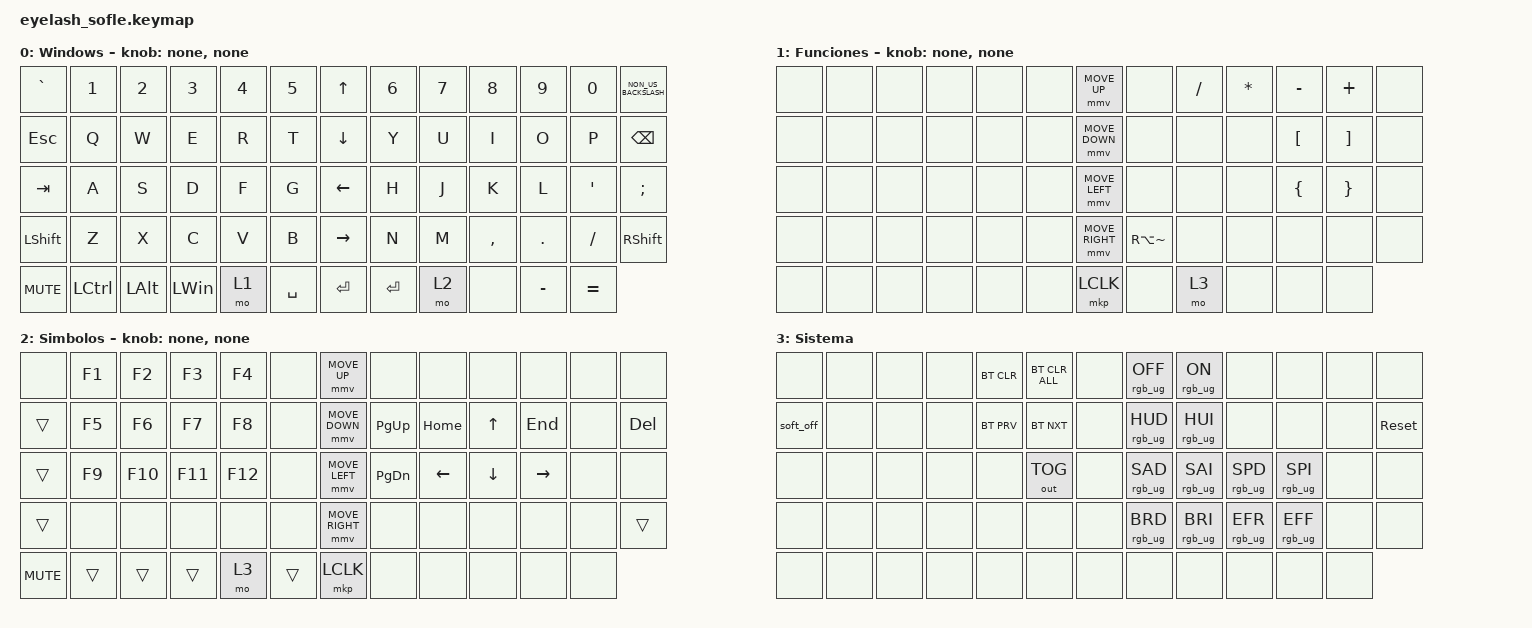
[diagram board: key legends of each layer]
#define ZMK_POINTING_DEFAULT_MOVE_VAL 1200  // 600
#define ZMK_POINTING_DEFAULT_SCRL_VAL 25   // 10

#include <input/processors.dtsi>
#include <zephyr/dt-bindings/input/input-event-codes.h>
#include <behaviors/runtime-sensor-rotate.dtsi>
#include <behaviors.dtsi>
#include <dt-bindings/zmk/bt.h>
#include <dt-bindings/zmk/keys.h>
#include <dt-bindings/zmk/outputs.h>
#include <dt-bindings/zmk/pointing.h>
#include <dt-bindings/zmk/rgb.h>

&mmv_input_listener { input-processors = <&zip_xy_scaler 2 1>; };

&msc_input_listener { input-processors = <&zip_scroll_scaler 2 1>; };

/ {
    combos { compatible = "zmk,combos"; };

    keymap {
        compatible = "zmk,keymap";

        Texto {
            bindings = <
&kp GRAVE   &kp N1     &kp N2        &kp N3        &kp N4  &kp N5       &kp UP_ARROW     &kp N6     &kp N7  &kp N8     &kp N9     &kp N0     &kp NON_US_BACKSLASH
&kp ESC     &kp Q      &kp W         &kp E         &kp R   &kp T        &kp DOWN_ARROW   &kp Y      &kp U   &kp I      &kp O      &kp P      &kp BACKSPACE
&kp TAB     &kp A      &kp S         &kp D         &kp F   &kp G        &kp LEFT_ARROW   &kp H      &kp J   &kp K      &kp L      &kp SQT    &kp SEMICOLON
&kp LSHFT   &kp Z      &kp X         &kp C         &kp V   &kp B        &kp RIGHT_ARROW  &kp N      &kp M   &kp COMMA  &kp DOT    &kp FSLH   &kp RIGHT_SHIFT
&kp C_MUTE  &kp LCTRL  &kp LEFT_ALT  &kp LEFT_WIN  &mo 1   &kp SPACE    &kp ENTER        &kp ENTER  &mo 2   &none      &kp MINUS  &kp EQUAL
            >;

            sensor-bindings = <&none>, <&none>;

            display-name = "Windows";
            label = "Texto";
        };

        Simbolos {
            bindings = <
&none  &none  &none  &none  &none  &none    &mmv MOVE_UP     &none          &kp SLASH  &kp ASTERISK  &kp MINUS         &kp PLUS           &none
&none  &none  &none  &none  &none  &none    &mmv MOVE_DOWN   &none          &none      &none         &kp LEFT_BRACKET  &kp RIGHT_BRACKET  &none
&none  &none  &none  &none  &none  &none    &mmv MOVE_LEFT   &none          &none      &none         &kp LEFT_BRACE    &kp RIGHT_BRACE    &none
&none  &none  &none  &none  &none  &none    &mmv MOVE_RIGHT  &kp RA(TILDE)  &none      &none         &none             &none              &none
&none  &none  &none  &none  &none  &none    &mkp LCLK        &none          &mo 3      &none         &none             &none
            >;

            display-name = "Funciones";
            sensor-bindings = <&none>, <&none>;

            label = "Simbolos";
        };

        Funcion {
            bindings = <
&none       &kp F1  &kp F2   &kp F3   &kp F4   &none     &mmv MOVE_UP     &none      &none     &none     &none      &none  &none
&trans      &kp F5  &kp F6   &kp F7   &kp F8   &none     &mmv MOVE_DOWN   &kp PG_UP  &kp HOME  &kp UP    &kp END    &none  &kp DEL
&trans      &kp F9  &kp F10  &kp F11  &kp F12  &none     &mmv MOVE_LEFT   &kp PG_DN  &kp LEFT  &kp DOWN  &kp RIGHT  &none  &none
&trans      &none   &none    &none    &none    &none     &mmv MOVE_RIGHT  &none      &none     &none     &none      &none  &trans
&kp C_MUTE  &trans  &trans   &trans   &mo 3    &trans    &mkp LCLK        &none      &none     &none     &none      &none
            >;

            sensor-bindings = <&none>, <&none>;

            display-name = "Simbolos";
            label = "Funcion";
        };

        Sistema {
            bindings = <
&none      &none  &none  &none  &bt BT_CLR  &bt BT_CLR_ALL    &none  &rgb_ug RGB_OFF  &rgb_ug RGB_ON   &none            &none            &none  &none
&soft_off  &none  &none  &none  &bt BT_PRV  &bt BT_NXT        &none  &rgb_ug RGB_HUD  &rgb_ug RGB_HUI  &none            &none            &none  &sys_reset
&none      &none  &none  &none  &none       &out OUT_TOG      &none  &rgb_ug RGB_SAD  &rgb_ug RGB_SAI  &rgb_ug RGB_SPD  &rgb_ug RGB_SPI  &none  &none
&none      &none  &none  &none  &none       &none             &none  &rgb_ug RGB_BRD  &rgb_ug RGB_BRI  &rgb_ug RGB_EFR  &rgb_ug RGB_EFF  &none  &none
&none      &none  &none  &none  &none       &none             &none  &none            &none            &none            &none            &none
            >;

            label = "Sistema";
        };
    };
};
